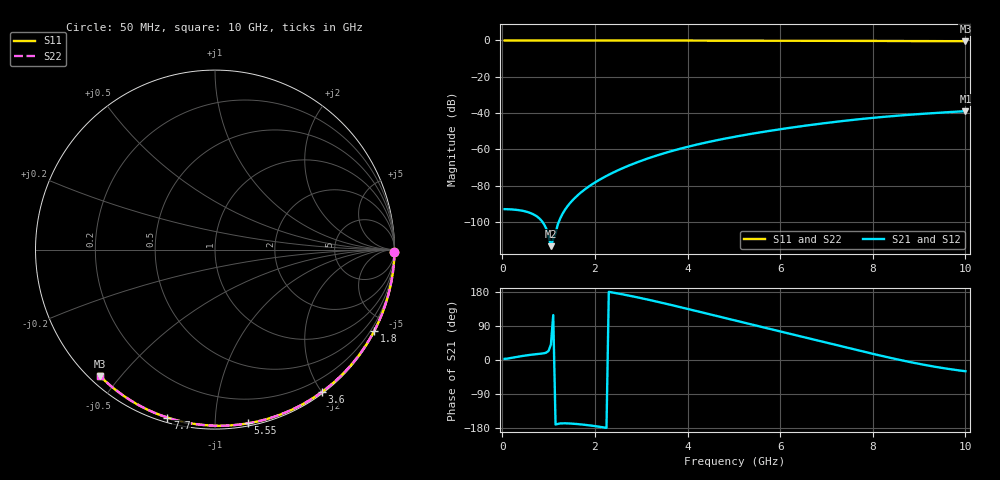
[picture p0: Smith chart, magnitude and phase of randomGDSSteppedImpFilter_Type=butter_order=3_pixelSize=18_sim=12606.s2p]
! freq	dB(S11)	phase(S11)	dB(S12)	phase(S12)
!  dB(S21)	phase(S21)	dB(S22)	phase(S22)
!S-par simulation data
#  GHz  S  DB  R 50
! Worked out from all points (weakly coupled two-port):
!   200 points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, 50 MHz to 10 GHz, reference 50 ohm
!   highest |S21| = -38.98 dB at 10 GHz (marker M1); lowest = -113.4 dB at 1.05 GHz (marker M2)
!   lowest |S11| = -0.4 dB at 10 GHz (marker M3), VSWR 40.70, Z = 1.47 - j22.1 ohm
!   |S11| at or under -10 dB: nowhere
!   |S22| runs from -0.4 to 0.0 dB; largest |S21 - S12| = 0
!   S11 on the Smith chart (normalised r, x): 50 MHz: open; 1.8 GHz: 0.04, -4.14; 3.6 GHz: 0.02, -2.00; 5.55 GHz: 0.02, -1.21; 7.7 GHz: 0.02, -0.76; 10 GHz: 0.03, -0.44
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0.05  -0.00 -0.8  -93.01 3.1  -93.01 3.1  -0.00 -0.8
0.55  -0.01 -8.4  -94.64 12.7  -94.64 12.7  -0.01 -8.4
1.05  -0.02 -16.0  -113.43 40.9  -113.43 40.9  -0.02 -16.0
1.75  -0.03 -26.4  -82.75 -170.6  -82.75 -170.6  -0.03 -26.4
1.8  -0.03 -27.2  -81.78 -171.3  -81.78 -171.3  -0.03 -27.2
1.9  -0.04 -28.6  -79.99 -172.8  -79.99 -172.8  -0.04 -28.6
2.05  -0.04 -30.8  -77.55 -175.3  -77.55 -175.3  -0.04 -30.8
2.25  -0.04 -33.8  -74.69 -179.1  -74.69 -179.1  -0.04 -33.8
2.65  -0.05 -39.6  -69.87 172.0  -69.87 172.0  -0.05 -39.6
3  -0.06 -44.6  -66.35 163.2  -66.35 163.2  -0.06 -44.6
3.4  -0.07 -50.3  -62.92 152.3  -62.92 152.3  -0.07 -50.3
3.6  -0.07 -53.1  -61.39 146.6  -61.39 146.6  -0.07 -53.1
3.9  -0.08 -57.3  -59.31 137.9  -59.31 137.9  -0.08 -57.3
4.3  -0.09 -62.7  -56.84 126.0  -56.84 126.0  -0.09 -62.7
5.05  -0.11 -72.8  -52.96 103.6  -52.96 103.6  -0.11 -72.8
5.55  -0.13 -79.3  -50.75 88.7  -50.75 88.7  -0.13 -79.3
6.1  -0.15 -86.3  -48.58 72.4  -48.58 72.4  -0.15 -86.3
6.7  -0.18 -93.8  -46.46 54.6  -46.46 54.6  -0.18 -93.8
7.7  -0.24 -105.8  -43.45 25.0  -43.45 25.0  -0.24 -105.8
8.35  -0.29 -113.5  -41.87 6.5  -41.87 6.5  -0.29 -113.5
9.15  -0.35 -122.7  -40.33 -13.6  -40.33 -13.6  -0.35 -122.7
10  -0.43 -132.3  -38.98 -29.6  -38.98 -29.6  -0.43 -132.3
